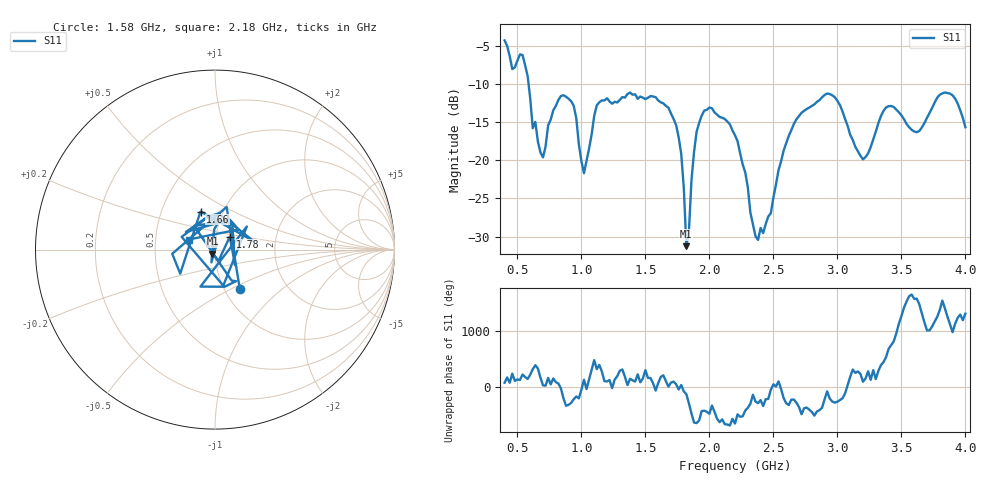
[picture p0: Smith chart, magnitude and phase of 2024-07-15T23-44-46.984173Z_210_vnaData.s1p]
!Created with skrf (http://scikit-rf.org).
# Hz S RI R 50.0
!freq ReS11 ImS11
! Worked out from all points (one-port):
!   181 points, 400 MHz to 4 GHz, reference 50 ohm
!   lowest |S11| = -31.2 dB at 1.82 GHz (marker M1), VSWR 1.06, Z = 48.5 - j2.26 ohm
!   |S11| at or under -10 dB: 587 MHz to end of sweep
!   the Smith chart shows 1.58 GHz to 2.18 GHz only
!   S11 on the Smith chart (normalised r, x): 1.58 GHz: 1.18, -0.55; 1.66 GHz: 0.78, +0.35; 1.78 GHz: 1.17, +0.17; 2.18 GHz: 0.74, +0.09
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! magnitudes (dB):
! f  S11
! 400 MHz  -4.3
! 460 MHz  -8.1
! 540 MHz  -6.2
! 620 MHz  -15.8
! 700 MHz  -19.6
! 860 MHz  -11.5
! 940 MHz  -12.9
! 1.02 GHz  -21.7
! 1.12 GHz  -12.8
! 1.3 GHz  -12.1
! 1.58 GHz  -11.7
! 1.66 GHz  -12.9
! 1.76 GHz  -17.0
! 1.78 GHz  -19.2
! 1.82 GHz  -31.2
! 1.88 GHz  -18.9
! 1.94 GHz  -14.2
! 2.18 GHz  -16.1
! 2.2 GHz  -16.7
! 2.38 GHz  -30.4
! 2.66 GHz  -15.2
! 2.94 GHz  -11.3
! 3.1 GHz  -16.7
! 3.2 GHz  -19.9
! 3.38 GHz  -13.1
! 3.56 GHz  -15.7
! 3.84 GHz  -11.1
! 4 GHz  -15.7
